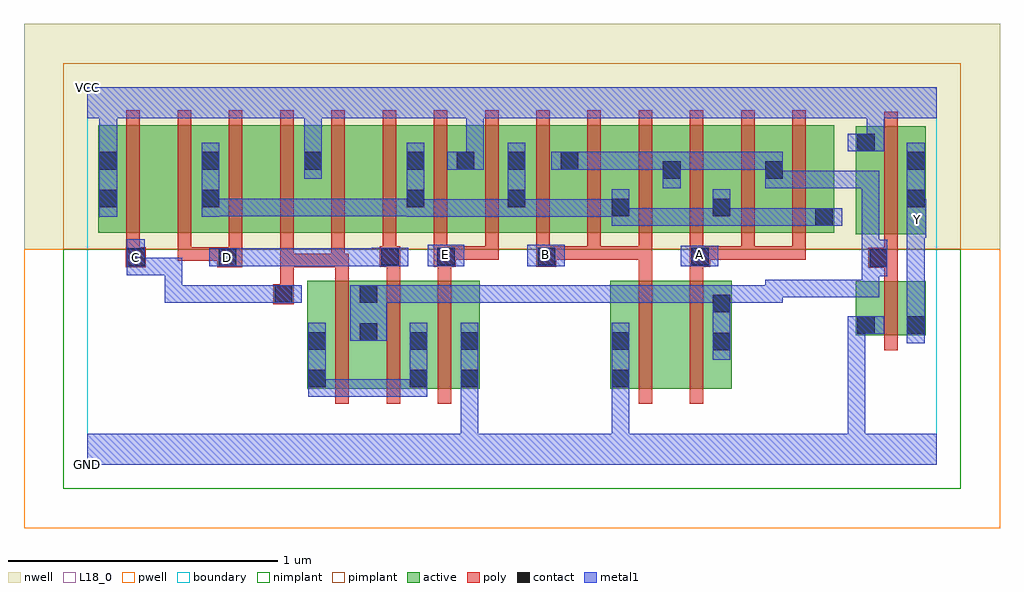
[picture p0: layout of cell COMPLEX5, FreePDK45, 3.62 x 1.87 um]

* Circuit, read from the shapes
.subckt COMPLEX5 A B C D E GND VCC Y
M1 n1 C n2 VSUBS nfet w=0.4u l=0.05u
M2 n2 D n1 VSUBS nfet w=0.4u l=0.05u
M3 GND E n2 VSUBS nfet w=0.4u l=0.05u
M4 n3 B GND VSUBS nfet w=0.4u l=0.05u
M5 n1 A n3 VSUBS nfet w=0.4u l=0.05u
M6 Y n1 GND VSUBS nfet w=0.2u l=0.05u
M7 n4 C VCC n5 pfet w=0.4u l=0.05u
M8 n6 D n4 n5 pfet w=0.4u l=0.05u
M9 n7 D n6 n5 pfet w=0.4u l=0.05u
M10 VCC C n7 n5 pfet w=0.4u l=0.05u
M11 n8 C VCC n5 pfet w=0.4u l=0.05u
M12 n6 D n8 n5 pfet w=0.4u l=0.05u
M13 VCC E n6 n5 pfet w=0.4u l=0.05u m=2
M14 n1 B n6 n5 pfet w=0.4u l=0.05u m=3
M15 n6 A n1 n5 pfet w=0.4u l=0.05u m=3
M16 Y n1 VCC n5 pfet w=0.4u l=0.05u
.ends

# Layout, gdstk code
import gdstk
lib = gdstk.Library(unit=1e-6, precision=1e-09)
def R(c, l, rs):  # rectangles x0, y0, x1, y1
    for r in rs: c.add(gdstk.rectangle(r[:2], r[2:], *l))
def A(c, l, x, y, w, h, nx, ny, dx, dy):  # array of equal rectangles
    R(c, l, [(x+i*dx, y+j*dy, x+i*dx+w, y+j*dy+h) for i in range(nx) for j in range(ny)])
active = (1, 0)
pwell = (2, 0)
nwell = (3, 0)
nimplant = (4, 0)
pimplant = (5, 0)
poly = (9, 0)
contact = (10, 0)
metal1 = (11, 0)
L18_0 = (18, 0)
boundary = (235, 0)

complex5 = lib.new_cell('COMPLEX5')
A(complex5, active, 0.04, 0.86, 0.225, 0.4, 3, 1, 0.38, 0)
A(complex5, active, 0.265, 0.86, 0.23, 0.4, 3, 1, 0.38, 0)
A(complex5, active, 1.75, 0.86, 0.075, 0.34, 3, 1, 0.38, 0)
R(complex5, active, [(0.815,0.282,0.89,0.682), (0.815,0.282,1.08,0.682), (1.005,0.282,1.265,0.682), (1.19,0.282,1.455,0.682), (1.19,0.282,1.265,0.497), (1.38,0.282,1.455,0.682), (1.94,0.282,2.165,0.682), (1.94,0.282,2.015,0.682), (2.165,0.282,2.39,0.682), (1.005,0.33,1.08,0.67), (2.315,0.332,2.39,0.682), (2.85,0.48,2.925,0.68), (2.85,0.48,3.11,0.68), (3.035,0.48,3.11,0.68), (2.85,0.855,3.11,1.255), (3.035,0.855,3.11,1.2), (0.04,0.86,0.115,1.26), (0.42,0.86,0.495,1.2), (0.8,0.86,0.875,1.26), (1.18,0.86,1.44,1.26), (1.18,0.86,1.255,1.2), (1.365,0.86,1.44,1.26), (1.365,0.86,1.63,1.26), (1.555,0.86,1.63,1.2), (1.555,0.86,1.825,1.26), (1.75,0.86,2.015,1.26), (1.94,0.86,2.205,1.26), (1.94,0.86,2.015,1.07), (2.13,0.86,2.39,1.26), (2.315,0.86,2.585,1.26), (2.315,0.86,2.39,1.07), (2.51,0.86,2.77,1.26), (2.695,0.86,2.77,1.047), (2.85,0.907,2.925,1.255)])
R(complex5, pwell, [(-0.235,-0.235,3.385,0.8)])
R(complex5, nwell, [(-0.235,0.8,3.385,1.635)])
R(complex5, nimplant, [(-0.09,-0.09,3.24,0.8)])
R(complex5, pimplant, [(-0.09,0.8,3.24,1.49)])
A(complex5, poly, 0.92, 0.227, 0.05, 0.51, 3, 1, 0.19, 0)
A(complex5, poly, 0.145, 0.757, 0.05, 0.098, 3, 1, 0.19, 0)
A(complex5, poly, 1.095, 0.76, 0.05, 0.095, 9, 1, 0.19, 0)
A(complex5, poly, 0.145, 0.805, 0.05, 0.51, 14, 1, 0.19, 0)
R(complex5, poly, [(2.045,0.227,2.095,0.737), (2.235,0.227,2.285,0.737), (2.955,0.425,3.005,0.735), (0.69,0.595,0.765,0.67), (0.715,0.62,0.765,0.67), (0.715,0.62,0.765,0.67), (0.715,0.62,0.765,0.782), (2.955,0.685,3.005,0.78), (0.92,0.687,0.97,0.782), (1.11,0.687,1.16,0.785), (1.3,0.687,1.35,0.785), (2.045,0.687,2.095,0.81), (2.235,0.687,2.285,0.785), (2.897,0.73,3.005,0.805), (0.142,0.732,0.217,0.807), (0.482,0.732,0.575,0.807), (0.715,0.732,0.955,0.782), (0.715,0.732,0.765,0.782), (0.715,0.732,0.765,0.855), (0.905,0.732,0.955,0.782), (0.905,0.732,0.955,0.782), (0.905,0.732,0.955,0.855), (0.905,0.732,0.97,0.782), (1.085,0.735,1.16,0.81), (1.285,0.735,1.367,0.81), (1.665,0.735,1.74,0.81), (2.235,0.735,2.31,0.81), (2.955,0.755,3.005,0.85), (0.335,0.757,0.385,0.807), (0.335,0.757,0.385,0.807), (0.335,0.757,0.385,0.807), (0.335,0.757,0.532,0.807), (1.317,0.76,1.367,0.81), (1.317,0.76,1.367,0.81), (1.317,0.76,1.525,0.81), (1.475,0.76,1.525,0.81), (1.69,0.76,1.74,0.81), (1.69,0.76,1.74,0.81), (1.69,0.76,1.905,0.81), (1.855,0.76,2.095,0.81), (1.855,0.76,1.905,0.81), (1.855,0.76,1.905,0.81), (1.855,0.76,1.905,0.81), (2.045,0.76,2.095,0.81), (2.26,0.76,2.31,0.81), (2.26,0.76,2.31,0.81), (2.26,0.76,2.475,0.81), (2.425,0.76,2.665,0.81), (2.425,0.76,2.475,0.81), (2.425,0.76,2.475,0.81), (2.425,0.76,2.475,0.81), (2.615,0.76,2.665,0.81), (2.955,0.8,3.005,1.31)])
A(complex5, contact, 0.045, 1.095, 0.065, 0.065, 4, 1, 0.38, 0)
R(complex5, contact, [(0.82,0.287,0.885,0.352), (1.195,0.287,1.26,0.352), (1.385,0.287,1.45,0.352), (1.945,0.287,2.01,0.352), (2.32,0.425,2.385,0.49), (0.82,0.427,0.885,0.492), (1.195,0.427,1.26,0.492), (1.385,0.427,1.45,0.492), (1.945,0.427,2.01,0.492), (1.01,0.46,1.075,0.525), (2.855,0.485,2.92,0.55), (3.04,0.485,3.105,0.55), (2.32,0.565,2.385,0.63), (0.695,0.6,0.76,0.665), (1.01,0.6,1.075,0.665), (2.902,0.735,2.967,0.8), (0.147,0.737,0.212,0.802), (0.487,0.737,0.552,0.802), (1.09,0.74,1.155,0.805), (1.297,0.74,1.362,0.805), (1.67,0.74,1.735,0.805), (2.24,0.74,2.305,0.805), (2.7,0.887,2.765,0.952), (1.945,0.922,2.01,0.987), (2.32,0.922,2.385,0.987), (0.045,0.955,0.11,1.02), (0.425,0.955,0.49,1.02), (1.185,0.955,1.25,1.02), (1.56,0.955,1.625,1.02), (3.04,0.955,3.105,1.02), (2.135,1.06,2.2,1.125), (2.515,1.06,2.58,1.125), (1.37,1.095,1.435,1.16), (1.56,1.095,1.625,1.16), (1.755,1.095,1.82,1.16), (3.04,1.095,3.105,1.16), (2.855,1.162,2.92,1.227)])
R(complex5, metal1, [(0,0,3.15,0.115), (1.385,0.05,1.45,0.115), (1.385,0.05,1.45,0.115), (1.385,0.05,1.45,0.115), (1.385,0.05,1.45,0.115), (1.385,0.05,1.45,0.317), (1.945,0.05,2.01,0.115), (1.945,0.05,2.01,0.115), (1.945,0.05,2.01,0.115), (1.945,0.05,2.01,0.115), (1.945,0.05,2.01,0.317), (2.82,0.05,2.885,0.55), (0.82,0.252,0.885,0.317), (0.82,0.252,0.885,0.317), (0.82,0.252,0.885,0.527), (0.82,0.252,1.112,0.317), (1.047,0.252,1.112,0.317), (1.047,0.252,1.112,0.317), (1.047,0.252,1.112,0.317), (1.047,0.252,1.26,0.317), (1.195,0.252,1.26,0.527), (1.385,0.252,1.45,0.527), (1.945,0.252,2.01,0.527), (2.32,0.39,2.385,0.665), (3.04,0.45,3.105,0.585), (0.975,0.46,1.11,0.665), (2.82,0.485,2.885,0.55), (2.82,0.485,2.885,0.55), (2.82,0.485,2.885,0.55), (2.82,0.485,2.885,0.55), (2.82,0.485,2.885,0.55), (2.82,0.485,2.885,0.55), (2.82,0.485,2.885,0.55), (2.82,0.485,2.885,0.55), (2.82,0.485,2.955,0.55), (3.04,0.52,3.105,0.907), (0.287,0.6,0.352,0.665), (0.287,0.6,0.49,0.665), (0.287,0.6,0.352,0.767), (0.425,0.6,0.49,0.665), (0.425,0.6,0.725,0.665), (0.66,0.6,0.725,0.665), (0.66,0.6,0.725,0.665), (0.66,0.6,0.725,0.665), (0.66,0.6,0.725,0.665), (0.66,0.6,0.795,0.665), (1.045,0.6,1.11,0.665), (1.045,0.6,1.11,0.665), (1.045,0.6,1.262,0.665), (1.197,0.6,1.262,0.665), (1.197,0.6,1.262,0.665), (1.197,0.6,1.262,0.665), (1.197,0.6,1.4,0.665), (1.335,0.6,1.4,0.665), (1.335,0.6,1.4,0.665), (1.335,0.6,1.4,0.665), (1.335,0.6,1.625,0.665), (1.56,0.6,1.625,0.665), (1.56,0.6,1.625,0.665), (1.56,0.6,1.625,0.665), (1.56,0.6,1.872,0.665), (1.807,0.6,1.872,0.665), (1.807,0.6,1.872,0.665), (1.807,0.6,1.872,0.665), (1.807,0.6,2.01,0.665), (1.945,0.6,2.01,0.665), (1.945,0.6,2.01,0.665), (1.945,0.6,2.01,0.665), (1.945,0.6,2.147,0.665), (2.082,0.6,2.147,0.665), (2.082,0.6,2.147,0.665), (2.082,0.6,2.147,0.665), (2.082,0.6,2.385,0.665), (2.32,0.6,2.58,0.665), (2.515,0.6,2.58,0.665), (2.515,0.6,2.58,0.665), (2.515,0.6,2.58,0.687), (2.515,0.622,2.717,0.687), (2.652,0.622,2.717,0.687), (2.652,0.622,2.717,0.687), (2.652,0.622,2.717,0.687), (2.652,0.622,2.937,0.687), (2.872,0.622,2.937,0.687), (2.872,0.622,2.937,0.835), (2.902,0.7,2.967,0.835), (0.147,0.702,0.212,0.767), (0.147,0.702,0.212,0.767), (0.147,0.702,0.212,0.837), (0.147,0.702,0.352,0.767), (0.287,0.702,0.352,0.767), (0.287,0.702,0.352,0.767), (0.287,0.702,0.352,0.767), (0.452,0.737,0.587,0.802), (0.522,0.737,0.732,0.802), (0.667,0.737,0.732,0.802), (0.667,0.737,0.732,0.802), (0.667,0.737,0.732,0.802), (0.667,0.737,0.902,0.802), (0.837,0.737,0.902,0.802), (0.837,0.737,0.902,0.802), (0.837,0.737,0.902,0.802), (0.837,0.737,1.112,0.802), (1.047,0.737,1.112,0.802), (1.047,0.737,1.12,0.802), (1.055,0.737,1.19,0.805), (1.262,0.737,1.397,0.815), (1.632,0.737,1.77,0.815), (2.2,0.737,2.34,0.812), (2.872,0.77,2.937,0.835), (2.872,0.77,2.967,0.835), (2.872,0.77,2.937,1.09), (3.04,0.842,3.112,0.985), (1.945,0.887,2.01,0.952), (1.945,0.887,2.01,0.952), (1.945,0.887,2.01,1.022), (1.945,0.887,2.197,0.952), (2.132,0.887,2.197,0.952), (2.132,0.887,2.197,0.952), (2.132,0.887,2.197,0.952), (2.132,0.887,2.385,0.952), (2.32,0.887,2.385,1.022), (2.32,0.887,2.58,0.952), (2.515,0.887,2.58,0.952), (2.515,0.887,2.58,0.952), (2.515,0.887,2.58,0.952), (2.515,0.887,2.73,0.952), (2.665,0.887,2.73,0.952), (2.665,0.887,2.73,0.952), (2.665,0.887,2.8,0.952), (0.045,0.92,0.11,1.195), (0.425,0.92,0.49,1.195), (1.185,0.92,1.25,0.985), (1.185,0.92,1.25,0.985), (1.185,0.92,1.25,1.195), (1.185,0.92,1.487,0.985), (1.422,0.92,1.487,0.985), (1.422,0.92,1.487,0.985), (1.422,0.92,1.487,0.985), (1.422,0.92,1.625,0.985), (1.56,0.92,1.625,0.985), (1.56,0.92,1.625,0.985), (1.56,0.92,1.625,1.195), (1.56,0.92,1.762,0.985), (1.697,0.92,1.762,0.985), (1.697,0.92,1.762,0.985), (1.697,0.92,1.762,0.985), (1.697,0.92,2.01,0.985), (3.04,0.92,3.105,0.985), (3.04,0.92,3.105,1.195), (0.425,0.922,0.49,0.987), (0.425,0.922,0.49,0.987), (0.425,0.922,0.725,0.987), (0.66,0.922,0.725,0.987), (0.66,0.922,0.725,0.987), (0.66,0.922,0.725,0.987), (0.66,0.922,0.902,0.987), (0.837,0.922,0.902,0.987), (0.837,0.922,0.902,0.987), (0.837,0.922,0.902,0.987), (0.837,0.922,1.112,0.987), (1.047,0.922,1.112,0.987), (1.047,0.922,1.112,0.987), (1.047,0.922,1.112,0.987), (1.047,0.922,1.25,0.987), (2.135,1.025,2.2,1.16), (2.515,1.025,2.58,1.16), (2.515,1.025,2.717,1.09), (2.652,1.025,2.717,1.09), (2.652,1.025,2.717,1.09), (2.652,1.025,2.717,1.09), (2.652,1.025,2.937,1.09), (2.872,1.025,2.937,1.09), (2.872,1.025,2.937,1.09), (2.872,1.025,2.937,1.09), (0.805,1.06,0.87,1.195), (1.335,1.095,1.47,1.16), (1.405,1.095,1.47,1.35), (1.72,1.095,1.855,1.16), (1.79,1.095,1.855,1.16), (1.79,1.095,1.855,1.16), (1.79,1.095,2.01,1.16), (1.945,1.095,2.01,1.16), (1.945,1.095,2.01,1.16), (1.945,1.095,2.01,1.16), (1.945,1.095,2.2,1.16), (2.135,1.095,2.2,1.16), (2.135,1.095,2.2,1.16), (2.135,1.095,2.385,1.16), (2.32,1.095,2.385,1.16), (2.32,1.095,2.58,1.16), (2.515,1.095,2.58,1.16), (2.515,1.095,2.58,1.16), (0.045,1.13,0.11,1.35), (0.805,1.13,0.87,1.35), (2.82,1.162,2.955,1.227), (2.89,1.162,2.955,1.35), (0,1.285,3.15,1.4)])
R(complex5, L18_0, [(0,0,3.15,0.115), (1.385,0.05,1.45,0.115), (1.385,0.05,1.45,0.115), (1.385,0.05,1.45,0.115), (1.385,0.05,1.45,0.115), (1.385,0.05,1.45,0.317), (1.945,0.05,2.01,0.115), (1.945,0.05,2.01,0.115), (1.945,0.05,2.01,0.115), (1.945,0.05,2.01,0.115), (1.945,0.05,2.01,0.317), (2.82,0.05,2.885,0.55), (1.385,0.252,1.45,0.527), (1.945,0.252,2.01,0.527), (3.04,0.45,3.105,0.585), (2.82,0.485,2.885,0.55), (2.82,0.485,2.885,0.55), (2.82,0.485,2.885,0.55), (2.82,0.485,2.885,0.55), (2.82,0.485,2.885,0.55), (2.82,0.485,2.885,0.55), (2.82,0.485,2.885,0.55), (2.82,0.485,2.885,0.55), (2.82,0.485,2.955,0.55), (3.04,0.52,3.105,0.907), (0.287,0.6,0.352,0.665), (0.287,0.6,0.352,0.767), (0.287,0.6,0.49,0.665), (0.425,0.6,0.49,0.665), (0.425,0.6,0.725,0.665), (0.66,0.6,0.725,0.665), (0.66,0.6,0.725,0.665), (0.66,0.6,0.725,0.665), (0.66,0.6,0.725,0.665), (0.66,0.6,0.795,0.665), (0.147,0.702,0.212,0.837), (0.147,0.702,0.212,0.767), (0.147,0.702,0.212,0.767), (0.147,0.702,0.352,0.767), (0.287,0.702,0.352,0.767), (0.287,0.702,0.352,0.767), (0.287,0.702,0.352,0.767), (0.147,0.737,0.212,0.802), (0.452,0.737,0.587,0.802), (0.487,0.737,0.552,0.802), (0.522,0.737,0.732,0.802), (0.667,0.737,0.732,0.802), (0.667,0.737,0.732,0.802), (0.667,0.737,0.732,0.802), (0.667,0.737,0.902,0.802), (0.837,0.737,0.902,0.802), (0.837,0.737,0.902,0.802), (0.837,0.737,0.902,0.802), (0.837,0.737,1.112,0.802), (1.047,0.737,1.112,0.802), (1.047,0.737,1.12,0.802), (1.055,0.737,1.19,0.805), (1.262,0.737,1.397,0.815), (1.632,0.737,1.77,0.815), (2.2,0.737,2.34,0.812), (1.297,0.747,1.362,0.812), (1.667,0.747,1.732,0.812), (2.237,0.747,2.302,0.812), (3.04,0.842,3.112,0.985), (3.047,0.877,3.112,0.942), (0.045,0.92,0.11,1.195), (3.04,0.92,3.105,1.195), (3.04,0.92,3.105,0.985), (0.805,1.06,0.87,1.195), (1.335,1.095,1.47,1.16), (1.405,1.095,1.47,1.35), (0.045,1.13,0.11,1.35), (0.805,1.13,0.87,1.35), (2.82,1.162,2.955,1.227), (2.89,1.162,2.955,1.35), (0,1.285,3.15,1.4)])
R(complex5, boundary, [(0,0,3.15,1.4)])
complex5.add(gdstk.Label('A', (2.27,0.78), layer=11, texttype=0))
complex5.add(gdstk.Label('B', (1.7,0.78), layer=11, texttype=0))
complex5.add(gdstk.Label('C', (0.18,0.77), layer=11, texttype=0))
complex5.add(gdstk.Label('D', (0.52,0.77), layer=11, texttype=0))
complex5.add(gdstk.Label('E', (1.33,0.78), layer=11, texttype=0))
complex5.add(gdstk.Label('Y', (3.08,0.91), layer=11, texttype=0))
complex5.add(gdstk.Label('VCC', (0,1.4), layer=11, texttype=0))
complex5.add(gdstk.Label('GND', (0,0), layer=11, texttype=0))

lib.write_gds('COMPLEX5.gds')
